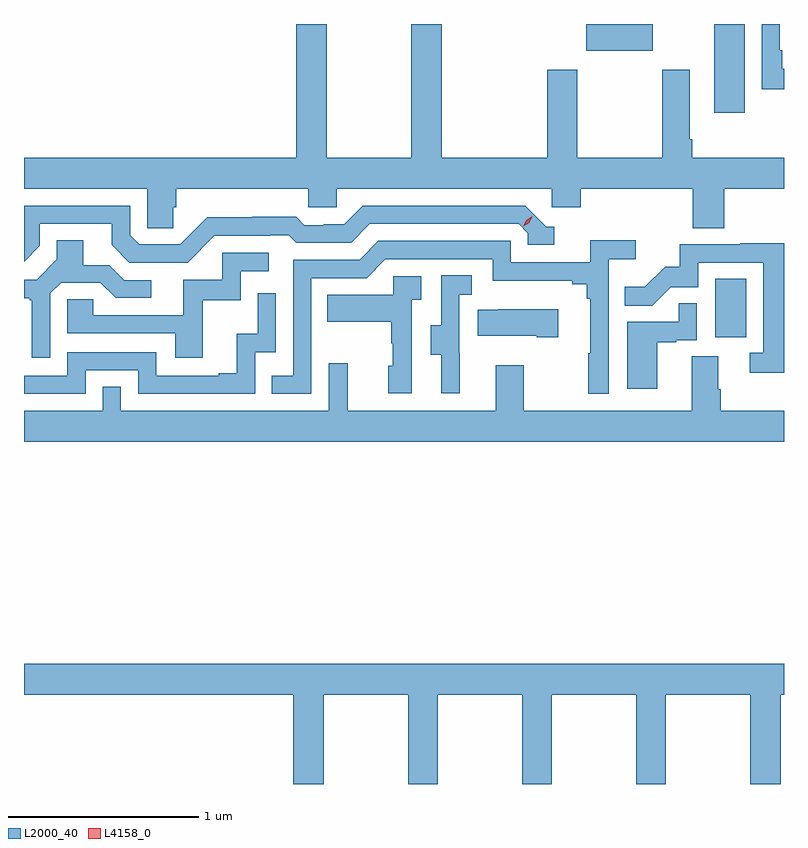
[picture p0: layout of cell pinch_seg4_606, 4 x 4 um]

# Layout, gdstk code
import gdstk
lib = gdstk.Library(unit=1e-6, precision=1e-09)
def R(c, l, rs):  # rectangles x0, y0, x1, y1
    for r in rs: c.add(gdstk.rectangle(r[:2], r[2:], *l))
def P(c, l, *ps):  # polygons
    for p in ps: c.add(gdstk.Polygon(p, *l))
L2000_40 = (2000, 40)
L4158_0 = (4158, 0)

pinch_seg4_606 = lib.new_cell('pinch_seg4_606')
R(pinch_seg4_606, L2000_40, [(1062.242,772.062,1062.406,772.369), (1062.236,773.244,1062.397,773.711), (1061.564,773.57,1061.914,773.711)])
P(pinch_seg4_606, L2000_40, [(1062.604,773.476),(1062.596,773.476),(1062.596,773.572),(1062.582,773.572),(1062.582,773.711),(1062.486,773.711),(1062.486,773.367),(1062.604,773.367)],
  [(1059.389,772.746),(1059.404,772.746),(1059.404,772.844),(1060.101,772.844),(1060.101,772.746),(1060.251,772.746),(1060.251,772.844),(1061.382,772.844),(1061.382,772.746),(1061.534,772.746),(1061.534,772.844),(1062.125,772.844),(1062.125,772.636),(1062.29,772.636),(1062.29,772.844),(1062.604,772.844),(1062.604,773.008),(1062.122,773.008),(1062.122,773.104),(1062.109,773.104),(1062.109,773.47),(1061.962,773.47),(1061.962,773.008),(1061.517,773.008),(1061.517,773.47),(1061.357,773.47),(1061.357,773.008),(1060.802,773.008),(1060.802,773.711),(1060.642,773.711),(1060.642,773.008),(1060.197,773.008),(1060.197,773.711),(1060.037,773.711),(1060.037,773.008),(1058.604,773.008),(1058.604,772.844),(1059.252,772.844),(1059.252,772.636),(1059.389,772.636)],
  [(1059.606,772.596),(1059.899,772.596),(1059.899,772.599),(1059.998,772.599),(1060.037,772.56),(1060.326,772.56),(1060.425,772.659),(1061.208,772.659),(1061.256,772.611),(1061.256,772.548),(1061.395,772.548),(1061.395,772.644),(1061.352,772.644),(1061.241,772.755),(1060.388,772.755),(1060.289,772.656),(1060.182,772.656),(1060.182,772.653),(1060.079,772.653),(1060.037,772.696),(1059.804,772.696),(1059.804,772.693),(1059.568,772.693),(1059.426,772.551),(1059.21,772.551),(1059.162,772.599),(1059.162,772.755),(1058.604,772.755),(1058.604,772.461),(1058.688,772.545),(1058.688,772.659),(1059.065,772.659),(1059.065,772.549),(1059.159,772.455),(1059.465,772.455)],
  [(1058.742,772.293),(1058.799,772.35),(1059.005,772.35),(1059.086,772.269),(1059.274,772.269),(1059.274,772.362),(1059.132,772.362),(1059.052,772.442),(1058.917,772.442),(1058.917,772.574),(1058.777,772.574),(1058.777,772.472),(1058.67,772.365),(1058.604,772.365),(1058.604,772.268),(1058.634,772.268),(1058.634,772.257),(1058.645,772.257),(1058.645,771.954),(1058.742,771.954)],
  [(1060.116,772.374),(1060.407,772.374),(1060.506,772.473),(1061.07,772.473),(1061.07,772.361),(1061.489,772.361),(1061.489,772.342),(1061.566,772.342),(1061.566,772.265),(1061.585,772.265),(1061.585,771.977),(1061.574,771.977),(1061.574,771.765),(1061.682,771.765),(1061.682,772.472),(1061.824,772.472),(1061.824,772.574),(1061.585,772.574),(1061.585,772.458),(1061.166,772.458),(1061.166,772.569),(1060.469,772.569),(1060.37,772.47),(1060.02,772.47),(1060.02,771.861),(1059.907,771.861),(1059.907,771.765),(1060.116,771.765)],
  [(1062.604,772.556),(1062.373,772.556),(1062.373,772.551),(1062.055,772.551),(1062.055,772.434),(1061.978,772.434),(1061.871,772.327),(1061.767,772.327),(1061.767,772.228),(1061.911,772.228),(1062.009,772.326),(1062.153,772.326),(1062.153,772.455),(1062.495,772.455),(1062.495,771.981),(1062.423,771.981),(1062.423,771.876),(1062.604,771.876)],
  [(1059.545,772.257),(1059.744,772.257),(1059.744,772.41),(1059.892,772.41),(1059.892,772.506),(1059.648,772.506),(1059.648,772.365),(1059.443,772.365),(1059.443,772.179),(1058.969,772.179),(1058.969,772.263),(1058.832,772.263),(1058.832,772.083),(1059.401,772.083),(1059.401,771.954),(1059.545,771.954)],
  [(1060.898,771.981),(1060.896,771.981),(1060.896,772.285),(1060.96,772.285),(1060.96,772.388),(1060.8,772.388),(1060.8,772.125),(1060.745,772.125),(1060.745,771.97),(1060.799,771.97),(1060.799,771.768),(1060.898,771.768)],
  [(1060.644,772.259),(1060.696,772.259),(1060.696,772.383),(1060.548,772.383),(1060.548,772.285),(1060.201,772.285),(1060.201,772.145),(1060.536,772.145),(1060.536,772.031),(1060.546,772.031),(1060.546,771.912),(1060.52,771.912),(1060.52,771.768),(1060.644,771.768)],
  [(1058.928,771.888),(1059.204,771.888),(1059.204,771.765),(1059.822,771.765),(1059.822,771.984),(1059.93,771.984),(1059.93,772.294),(1059.834,772.294),(1059.834,772.082),(1059.725,772.082),(1059.725,771.874),(1059.629,771.874),(1059.629,771.861),(1059.3,771.861),(1059.3,771.984),(1058.832,771.984),(1058.832,771.861),(1058.604,771.861),(1058.604,771.765),(1058.928,771.765)],
  [(1061.938,772.035),(1062.038,772.035),(1062.038,772.047),(1062.144,772.047),(1062.144,772.241),(1062.049,772.241),(1062.049,772.143),(1061.78,772.143),(1061.78,771.792),(1061.938,771.792)],
  [(1061.416,772.21),(1061.101,772.21),(1061.101,772.207),(1060.993,772.207),(1060.993,772.07),(1061.303,772.07),(1061.303,772.063),(1061.416,772.063)],
  [(1062.604,771.676),(1062.272,771.676),(1062.272,771.788),(1062.259,771.788),(1062.259,771.962),(1062.119,771.962),(1062.119,771.676),(1061.235,771.676),(1061.235,771.916),(1061.087,771.916),(1061.087,771.676),(1060.307,771.676),(1060.307,771.925),(1060.209,771.925),(1060.209,771.676),(1059.114,771.676),(1059.114,771.803),(1059.018,771.803),(1059.018,771.676),(1058.604,771.676),(1058.604,771.512),(1062.604,771.512)],
  [(1060.182,770.18),(1060.627,770.18),(1060.627,769.711),(1060.782,769.711),(1060.782,770.18),(1061.227,770.18),(1061.227,769.711),(1061.382,769.711),(1061.382,770.18),(1061.827,770.18),(1061.827,769.711),(1061.982,769.711),(1061.982,770.18),(1062.427,770.18),(1062.427,769.711),(1062.587,769.711),(1062.587,770.18),(1062.604,770.18),(1062.604,770.344),(1058.604,770.344),(1058.604,770.18),(1060.022,770.18),(1060.022,769.711),(1060.182,769.711)])
P(pinch_seg4_606, L4158_0, [(1061.231,772.646),(1061.231,772.646),(1061.247,772.679),(1061.278,772.698),(1061.278,772.698),(1061.278,772.697),(1061.262,772.665),(1061.231,772.646)])

lib.write_gds('pinch_seg4_606.gds')
